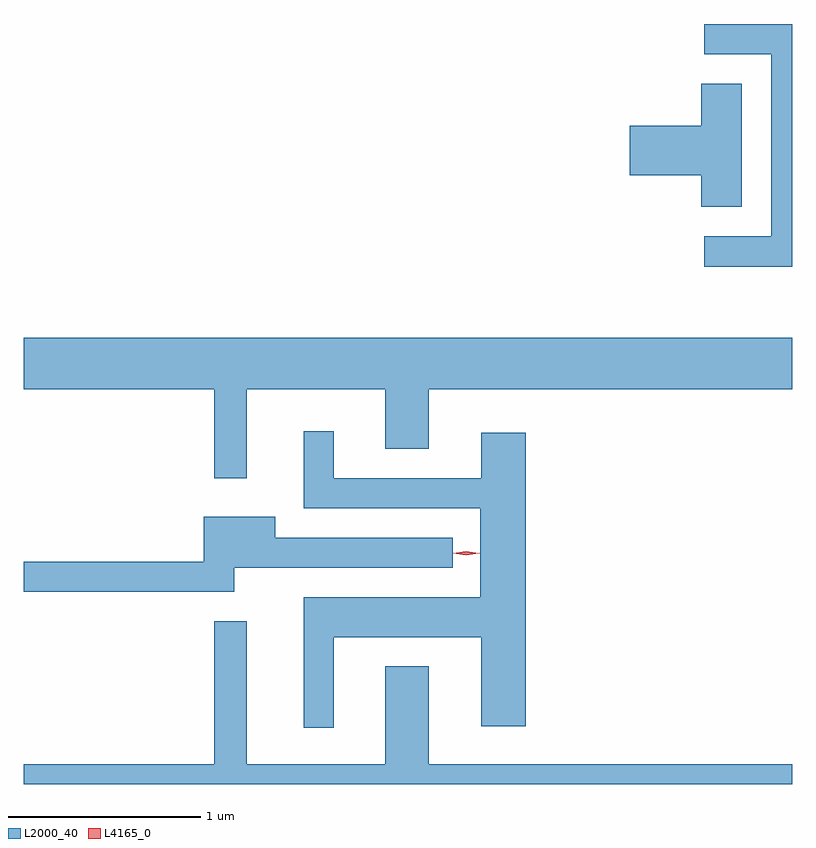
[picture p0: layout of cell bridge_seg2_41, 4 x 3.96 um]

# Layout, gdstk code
import gdstk
lib = gdstk.Library(unit=1e-6, precision=1e-09)
def P(c, l, *ps):  # polygons
    for p in ps: c.add(gdstk.Polygon(p, *l))
L2000_40 = (2000, 40)
L4165_0 = (4165, 0)

bridge_seg2_41 = lib.new_cell('bridge_seg2_41')
P(bridge_seg2_41, L2000_40, [(1278.41,1056.879),(1277.953,1056.879),(1277.953,1056.721),(1278.301,1056.721),(1278.301,1055.774),(1277.953,1055.774),(1277.953,1055.616),(1278.41,1055.616)],
  [(1278.149,1056.569),(1277.936,1056.569),(1277.936,1056.349),(1277.566,1056.349),(1277.566,1056.091),(1277.936,1056.091),(1277.936,1055.926),(1278.149,1055.926)],
  [(1275.569,1054.976),(1276.291,1054.976),(1276.291,1054.666),(1276.519,1054.666),(1276.519,1054.976),(1278.41,1054.976),(1278.41,1055.244),(1274.41,1055.244),(1274.41,1054.976),(1275.401,1054.976),(1275.401,1054.513),(1275.569,1054.513)],
  [(1276.024,1053.686),(1276.791,1053.686),(1276.791,1053.221),(1277.024,1053.221),(1277.024,1054.749),(1276.791,1054.749),(1276.791,1054.514),(1276.024,1054.514),(1276.024,1054.758),(1275.866,1054.758),(1275.866,1054.356),(1276.786,1054.356),(1276.786,1053.894),(1275.866,1053.894),(1275.866,1053.213),(1276.024,1053.213)],
  [(1275.504,1054.046),(1276.643,1054.046),(1276.643,1054.204),(1275.719,1054.204),(1275.719,1054.314),(1275.346,1054.314),(1275.346,1054.079),(1274.41,1054.079),(1274.41,1053.921),(1275.504,1053.921)],
  [(1278.41,1053.024),(1276.519,1053.024),(1276.519,1053.534),(1276.291,1053.534),(1276.291,1053.024),(1275.569,1053.024),(1275.569,1053.768),(1275.401,1053.768),(1275.401,1053.024),(1274.41,1053.024),(1274.41,1052.921),(1278.41,1052.921)])
P(bridge_seg2_41, L4165_0, [(1276.713,1054.113),(1276.644,1054.122),(1276.644,1054.123),(1276.644,1054.123),(1276.713,1054.133),(1276.782,1054.123),(1276.783,1054.123),(1276.782,1054.122)],
  [(1276.713,1054.113),(1276.648,1054.122),(1276.647,1054.123),(1276.648,1054.123),(1276.713,1054.133),(1276.779,1054.123),(1276.78,1054.123),(1276.779,1054.122)])

lib.write_gds('bridge_seg2_41.gds')
